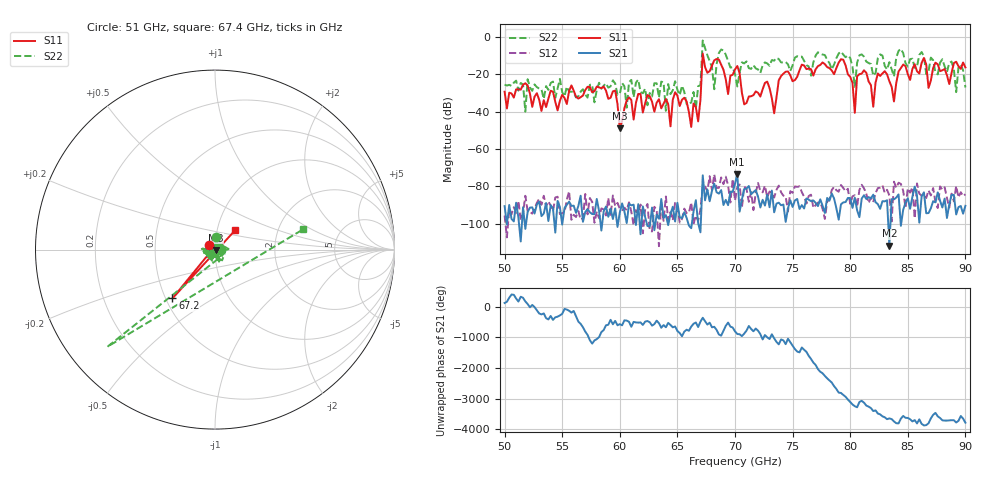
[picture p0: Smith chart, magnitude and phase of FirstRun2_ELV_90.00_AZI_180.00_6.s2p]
! 11/24/2026 3:19:24 PM
! C:\ANRITSUVNA\TEMP\TEMP.S2P
! CHANNEL.1
! TR.MEASUREMENT
! RAW.DATA
# HZ S RI R 50.0
! FREQ.HZ  S11RE  S11IM  S21RE  S21IM  S12RE  S12IM  S22RE  S22IM
!; PortSelection: Port_12
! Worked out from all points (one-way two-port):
!   201 points, 50 GHz to 90 GHz, reference 50 ohm
!   highest |S21| = -73.54 dB at 70.2 GHz (marker M1); lowest = -111.9 dB at 83.4 GHz (marker M2)
!   lowest |S11| = -48.9 dB at 60 GHz (marker M3), VSWR 1.01, Z = 50.3 - j0.143 ohm
!   |S11| at or under -10 dB: start of sweep to 67.19 GHz; 67.23 GHz to end of sweep
!   |S22| runs from -40.0 to -1.9 dB; largest |S21 - S12| = 0.0003
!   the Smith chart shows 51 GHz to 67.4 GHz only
!   S11 on the Smith chart (normalised r, x): 51 GHz: 0.94, +0.05; 67.2 GHz: 0.54, -0.34; 67.4 GHz: 1.22, +0.27
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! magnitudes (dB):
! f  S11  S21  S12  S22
! 50 GHz  -29.3  -90.7  -95.7  -25.6
! 51 GHz  -28.1  -88.8  -94.4  -23.4
! 51.8 GHz  -24.8  -102.8  -85.1  -40.0
! 56.8 GHz  -31.4  -99.1  -97.2  -28.0
! 59.6 GHz  -28.7  -91.9  -90.7  -25.0
! 60 GHz  -48.9  -94.1  -92.2  -30.5
! 63.4 GHz  -33.4  -97.4  -112.1  -32.6
! 66.8 GHz  -45.2  -99.7  -98.6  -26.4
! 67.2 GHz  -8.9  -74.1  -79.9  -1.9
! 67.4 GHz  -16.1  -87.6  -80.1  -6.0
! 68.2 GHz  -12.5  -78.6  -73.7  -28.0
! 68.8 GHz  -14.8  -82.1  -75.3  -6.7
! 70 GHz  -17.4  -78.6  -87.7  -19.9
! 70.2 GHz  -15.5  -73.5  -80.4  -26.5
! 73.4 GHz  -40.9  -94.0  -86.1  -12.7
! 74.2 GHz  -19.7  -89.8  -85.0  -13.6
! 76.8 GHz  -20.7  -87.6  -91.6  -13.5
! 79.4 GHz  -12.2  -88.7  -80.9  -9.4
! 80.4 GHz  -40.6  -86.2  -84.8  -26.7
! 80.6 GHz  -21.0  -92.9  -91.1  -13.8
! 83.4 GHz  -23.7  -111.9  -85.0  -13.5
! 90 GHz  -16.3  -90.5  -84.3  -27.0
